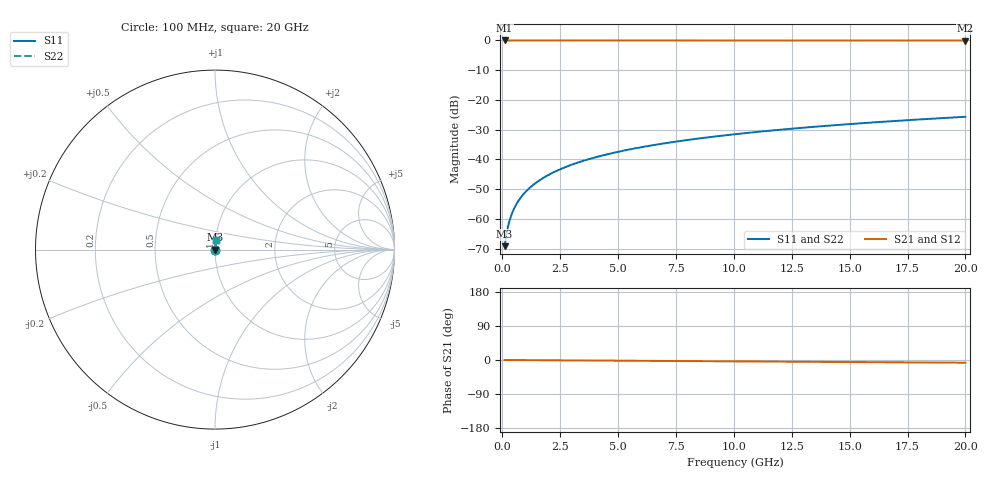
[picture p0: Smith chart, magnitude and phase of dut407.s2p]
! Touchstone file exported from HFSS 2026.1.0
!  File:  C:/ffzhzh/LocalFiles/Ansys_Project_Files/temp_train_TSV_407_1783020455_51716.aedt
!  Generated:  03:29:22 AM Jul  3, 2026
!  Design:  TSV
!  Project:  temp_train_TSV_407_1783020455_51716
! Variables:
!  h_bsmrdl = 2um
!  h_ox = 20um
!  h_rdl = 5um
!  h_sub = 59.12um
!  h_tmrdl = 5um
!  h_tsv = 59.12um
!  h_via = 3um
!  l_bsmrdl = 300um
!  l_sub = 413.5um
!  l_tmrdl = 200um
!  m_sub = 200um
!  pitch = 48.81um
!  r_tsv = 6.75um
!  s_tmrdl = 10um
!  w_bsmrdl = 18um
!  w_sub = 500um
!  w_tmrdl = 12um
!  x_tsv_center1 = 206um
!  x_tsv_center2 = 524um
!  x_tsv_center3 = 736um
!  x_tsv_center4 = 1054um
!  x_tsv_center5 = 1266um
!  x_tsv_center6 = 1584um
# GHz S MA R 50.000000
! Terminal data exported
! Port[1] = TSV1_1_T1
! Port[2] = TSV1_1_T2
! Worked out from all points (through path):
!   200 points, 100 MHz to 20 GHz, reference 50 ohm
!   highest |S21| = 0.00 dB at 100 MHz (marker M1); lowest = 0.0 dB at 20 GHz (marker M2)
!   lowest |S11| = -69.2 dB at 100 MHz (marker M3), VSWR 1.00, Z = 50 + j0.0296 ohm
!   |S11| at or under -10 dB: start of sweep to end of sweep
!   |S22| runs from -69.2 to -25.7 dB; largest |S21 - S12| = 2.5e-15
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0.1  0.0003481 58.1  0.9998 -0.0  0.9998 -0.0  0.0003481 58.1
! Gamma 0 0 0 0
! Port Impedance 50 0 50 0
0.2  0.0006201 71.9  0.9998 -0.1  0.9998 -0.1  0.0006201 71.9
0.3  0.0009037 76.8  0.9998 -0.1  0.9998 -0.1  0.0009037 76.8
0.4  0.001187 79.1  0.9998 -0.2  0.9998 -0.2  0.001187 79.1
0.5  0.001468 80.5  0.9998 -0.2  0.9998 -0.2  0.001468 80.5
0.6  0.001746 81.4  0.9997 -0.2  0.9997 -0.2  0.001746 81.4
0.7  0.002022 82.0  0.9997 -0.3  0.9997 -0.3  0.002022 82.0
0.8  0.002294 82.5  0.9997 -0.3  0.9997 -0.3  0.002294 82.5
1  0.002835 83.2  0.9997 -0.4  0.9997 -0.4  0.002835 83.2
1.4  0.003905 84.1  0.9996 -0.5  0.9996 -0.5  0.003905 84.1
1.7  0.004704 84.6  0.9996 -0.6  0.9996 -0.6  0.004704 84.6
2  0.005503 84.9  0.9996 -0.7  0.9996 -0.7  0.005503 84.9
2.7  0.007361 85.3  0.9995 -1.0  0.9995 -1.0  0.007361 85.3
3.5  0.009478 85.5  0.9994 -1.3  0.9994 -1.3  0.009478 85.5
4.2  0.01132 85.5  0.9993 -1.5  0.9993 -1.5  0.01132 85.5
5  0.01342 85.4  0.9993 -1.8  0.9993 -1.8  0.01342 85.4
6.8  0.01811 85.1  0.9991 -2.5  0.9991 -2.5  0.01811 85.1
8.3  0.02201 84.8  0.9989 -3.0  0.9989 -3.0  0.02201 84.8
10.1  0.02666 84.4  0.9987 -3.6  0.9987 -3.6  0.02666 84.4
13.4  0.03517 83.5  0.9983 -4.8  0.9983 -4.8  0.03517 83.5
16.7  0.04363 82.5  0.9979 -6.0  0.9979 -6.0  0.04363 82.5
20  0.05204 81.4  0.9973 -7.1  0.9973 -7.1  0.05204 81.4
